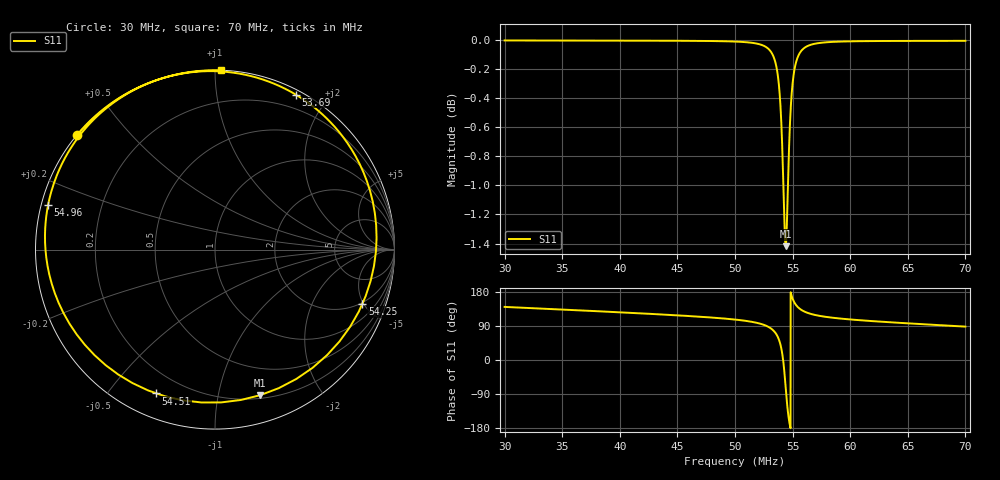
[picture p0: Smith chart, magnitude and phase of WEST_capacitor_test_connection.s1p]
! Touchstone file exported from Circuit Design 2022.2.0
!  File:  C:/Users/JH218595/Documents/Modeling/WEST ICRH/WEST_ICRH_Capacitor.aedt
!  Generated:  10:32:35  mars 24, 2024
!  Design:  WEST_capacitor_test_connection_HFSS
!  Project:  WEST_ICRH_Capacitor
!  Setup:  LinearFrequency
!  Solution:  LinearFrequency
! Variables:
!  C = 50pF
!  C1 = 25.7pF
!  L = 2.99e-08H
!  L1 = 2.4e-09H
!  R0 = 0.01ohm
!  R1 = 0.01ohm
!Data is not renormalized
# GHz S MA
! Terminal data exported
! Port[1] = Port1
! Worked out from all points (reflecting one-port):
!   4001 points, 30 MHz to 70 MHz, reference per port
!   lowest |S11| = -1.4 dB at 54.4 MHz (marker M1), VSWR 12.28
!   phase of S11 starts at 140 deg and turns -412 deg over the sweep
!   S11 on the Smith chart (normalised r, x): 30 MHz: 0.00, +0.36; 53.69 MHz: 0.05, +1.65; 54.25 MHz: 1.90, -4.91; 54.51 MHz: 0.10, -0.67; 54.96 MHz: 0.02, +0.13; 70 MHz: 0.00, +1.03
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0.03  0.9994 140.1
! Gamma 0 0
! Port Impedance 5.71440540166337 0
0.035  0.9994 133.1
0.04  0.9993 125.9
0.045  0.9992 117.8
0.05  0.9986 106.7
0.05155  0.9975 100.2
0.05256  0.995 92.1
0.05322  0.9891 80.9
0.05369  0.9739 62.5
0.05385  0.9611 50.6
0.05398  0.9438 36.3
0.05413  0.9109 10.8
0.05425  0.8755 -20.2
0.05433  0.8556 -46.9
0.0544  0.8494 -72.8
0.05451  0.866 -112.2
0.05461  0.8954 -141.3
0.05471  0.9226 -163.0
0.05482  0.9445 -180.0
0.05496  0.9625 165.1
0.055  0.9661 161.9
0.05519  0.9781 150.0
0.05542  0.9858 140.7
0.05614  0.9943 126.3
0.05757  0.9977 115.3
0.06  0.9988 107.0
0.065  0.9991 96.7
0.07  0.9991 88.1
